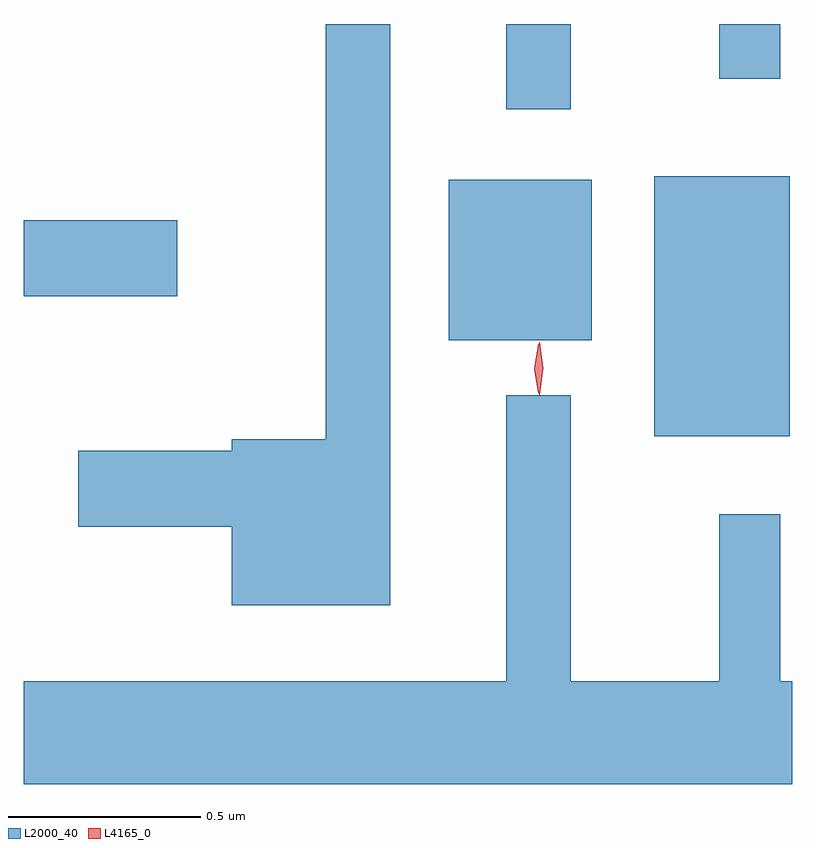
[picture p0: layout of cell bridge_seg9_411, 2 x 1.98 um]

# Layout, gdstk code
import gdstk
lib = gdstk.Library(unit=1e-6, precision=1e-09)
def R(c, l, rs):  # rectangles x0, y0, x1, y1
    for r in rs: c.add(gdstk.rectangle(r[:2], r[2:], *l))
def P(c, l, *ps):  # polygons
    for p in ps: c.add(gdstk.Polygon(p, *l))
L2000_40 = (2000, 40)
L4165_0 = (4165, 0)

bridge_seg9_411 = lib.new_cell('bridge_seg9_411')
R(bridge_seg9_411, L2000_40, [(919.396,1954.981,919.749,1955.659), (918.861,1955.231,919.234,1955.649), (917.755,1955.346,918.154,1955.544), (919.011,1955.833,919.179,1956.055), (919.566,1955.913,919.724,1956.055)])
P(bridge_seg9_411, L2000_40, [(918.709,1956.055),(918.541,1956.055),(918.541,1954.974),(918.296,1954.974),(918.296,1954.944),(917.896,1954.944),(917.896,1954.746),(918.296,1954.746),(918.296,1954.541),(918.709,1954.541)],
  [(919.755,1954.344),(919.724,1954.344),(919.724,1954.778),(919.566,1954.778),(919.566,1954.344),(919.179,1954.344),(919.179,1955.088),(919.011,1955.088),(919.011,1954.344),(917.755,1954.344),(917.755,1954.076),(919.755,1954.076)])
P(bridge_seg9_411, L4165_0, [(919.094,1955.093),(919.094,1955.093),(919.084,1955.157),(919.094,1955.221),(919.094,1955.222),(919.095,1955.221),(919.104,1955.157),(919.095,1955.093)],
  [(919.097,1955.089),(919.097,1955.09),(919.087,1955.158),(919.097,1955.226),(919.097,1955.226),(919.098,1955.226),(919.107,1955.158),(919.098,1955.09)])

lib.write_gds('bridge_seg9_411.gds')
